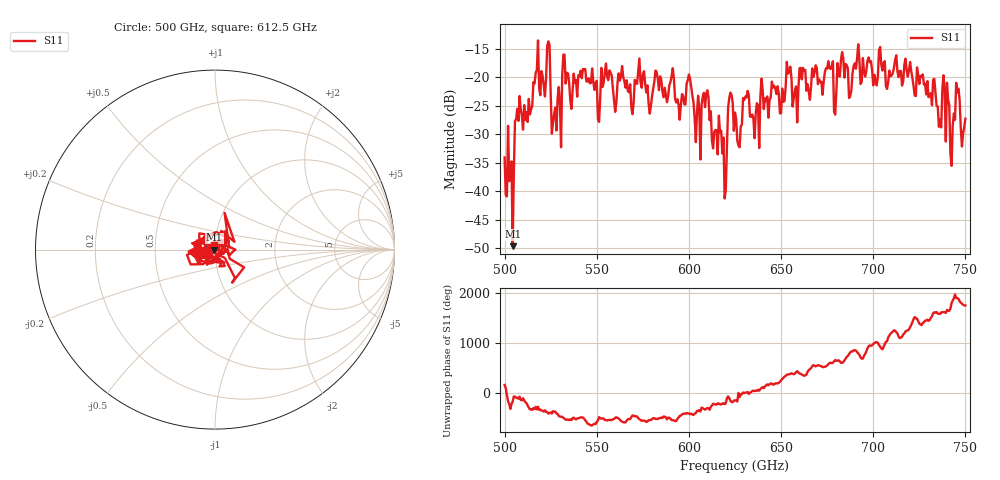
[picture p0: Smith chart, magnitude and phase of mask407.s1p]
!Created with skrf (http://scikit-rf.org).
# GHz S MA R 50.0
!freq magS11 angS11
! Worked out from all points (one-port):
!   401 points, 500 GHz to 750 GHz, reference 50 ohm
!   lowest |S11| = -49.7 dB at 504.4 GHz (marker M1), VSWR 1.01, Z = 49.7 + j0.0137 ohm
!   |S11| at or under -10 dB: start of sweep to end of sweep
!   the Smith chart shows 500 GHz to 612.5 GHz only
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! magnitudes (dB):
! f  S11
! 500 GHz  -34.1
! 504.4 GHz  -49.7
! 506.9 GHz  -25.5
! 513.8 GHz  -26.5
! 516.9 GHz  -19.2
! 523.8 GHz  -13.6
! 526.9 GHz  -26.4
! 531.2 GHz  -19.6
! 562.5 GHz  -20.6
! 579.4 GHz  -25.0
! 590.6 GHz  -19.7
! 593.8 GHz  -23.8
! 600 GHz  -19.5
! 605 GHz  -23.2
! 609.4 GHz  -22.9
! 619.4 GHz  -41.3
! 622.5 GHz  -22.7
! 625 GHz  -26.2
! 656.2 GHz  -25.1
! 683.8 GHz  -16.6
! 687.5 GHz  -23.3
! 691.2 GHz  -16.6
! 718.8 GHz  -19.8
! 735.6 GHz  -28.7
! 738.8 GHz  -22.4
! 743.1 GHz  -28.4
! 745.6 GHz  -22.6
! 750 GHz  -27.3
